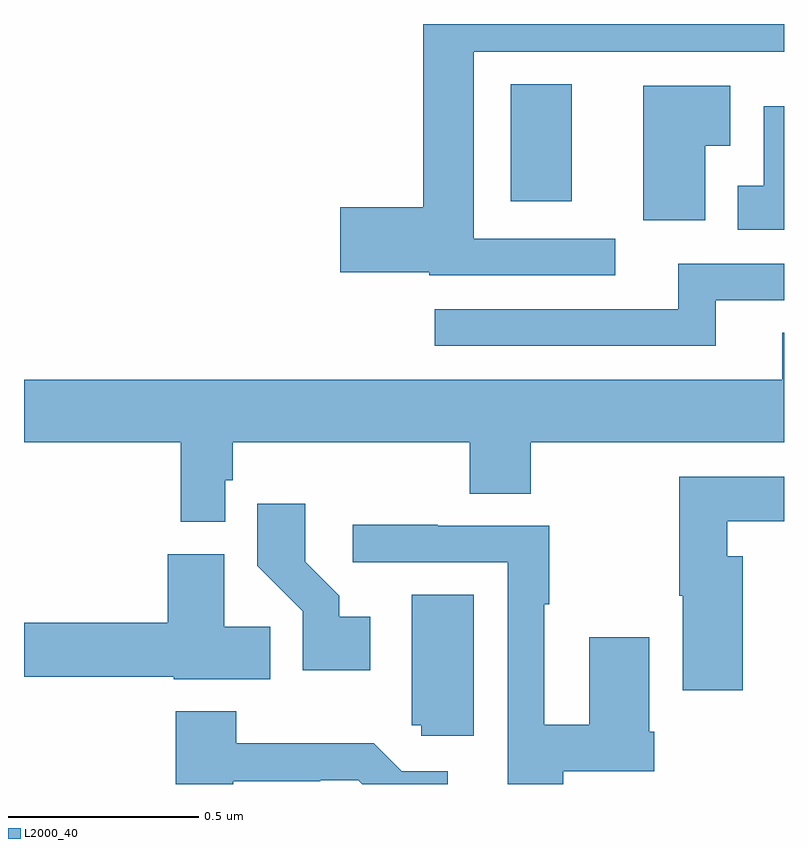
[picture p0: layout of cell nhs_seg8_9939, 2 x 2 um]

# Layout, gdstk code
import gdstk
lib = gdstk.Library(unit=1e-6, precision=1e-09)
def R(c, l, rs):  # rectangles x0, y0, x1, y1
    for r in rs: c.add(gdstk.rectangle(r[:2], r[2:], *l))
def P(c, l, *ps):  # polygons
    for p in ps: c.add(gdstk.Polygon(p, *l))
L2000_40 = (2000, 40)

nhs_seg8_9939 = lib.new_cell('nhs_seg8_9939')
R(nhs_seg8_9939, L2000_40, [(243.281,1150.434,243.442,1150.742)])
P(nhs_seg8_9939, L2000_40, [(243.556,1150.335),(243.184,1150.335),(243.184,1150.827),(244,1150.827),(244,1150.9),(243.05,1150.9),(243.05,1150.418),(242.832,1150.418),(242.832,1150.247),(243.066,1150.247),(243.066,1150.239),(243.556,1150.239)],
  [(243.793,1150.58),(243.859,1150.58),(243.859,1150.738),(243.629,1150.738),(243.629,1150.383),(243.793,1150.383)],
  [(244,1150.684),(243.947,1150.684),(243.947,1150.474),(243.878,1150.474),(243.878,1150.358),(244,1150.358)],
  [(243.82,1150.173),(244,1150.173),(244,1150.269),(243.722,1150.269),(243.722,1150.149),(243.081,1150.149),(243.081,1150.053),(243.82,1150.053)],
  [(242.529,1149.699),(242.549,1149.699),(242.549,1149.8),(243.173,1149.8),(243.173,1149.664),(243.333,1149.664),(243.333,1149.8),(244,1149.8),(244,1150.088),(243.995,1150.088),(243.995,1149.964),(242,1149.964),(242,1149.8),(242.413,1149.8),(242.413,1149.59),(242.529,1149.59)],
  [(243.892,1149.499),(243.85,1149.499),(243.85,1149.592),(244,1149.592),(244,1149.708),(243.724,1149.708),(243.724,1149.395),(243.734,1149.395),(243.734,1149.147),(243.892,1149.147)],
  [(242.911,1149.34),(242.83,1149.34),(242.83,1149.395),(242.74,1149.485),(242.74,1149.637),(242.614,1149.637),(242.614,1149.474),(242.733,1149.355),(242.733,1149.2),(242.911,1149.2)],
  [(243.419,1148.933),(243.659,1148.933),(243.659,1149.037),(243.646,1149.037),(243.646,1149.286),(243.488,1149.286),(243.488,1149.056),(243.369,1149.056),(243.369,1149.373),(243.382,1149.373),(243.382,1149.579),(243.089,1149.579),(243.089,1149.582),(242.865,1149.582),(242.865,1149.483),(243.273,1149.483),(243.273,1148.9),(243.419,1148.9)],
  [(242.648,1149.314),(242.527,1149.314),(242.527,1149.505),(242.378,1149.505),(242.378,1149.324),(242,1149.324),(242,1149.182),(242.394,1149.182),(242.394,1149.176),(242.648,1149.176)],
  [(243.184,1149.398),(243.02,1149.398),(243.02,1149.054),(243.045,1149.054),(243.045,1149.027),(243.184,1149.027)],
  [(242.551,1148.907),(242.78,1148.907),(242.78,1148.91),(242.88,1148.91),(242.89,1148.9),(243.115,1148.9),(243.115,1148.934),(242.994,1148.934),(242.921,1149.007),(242.559,1149.007),(242.559,1149.091),(242.399,1149.091),(242.399,1148.9),(242.551,1148.9)])

lib.write_gds('nhs_seg8_9939.gds')
